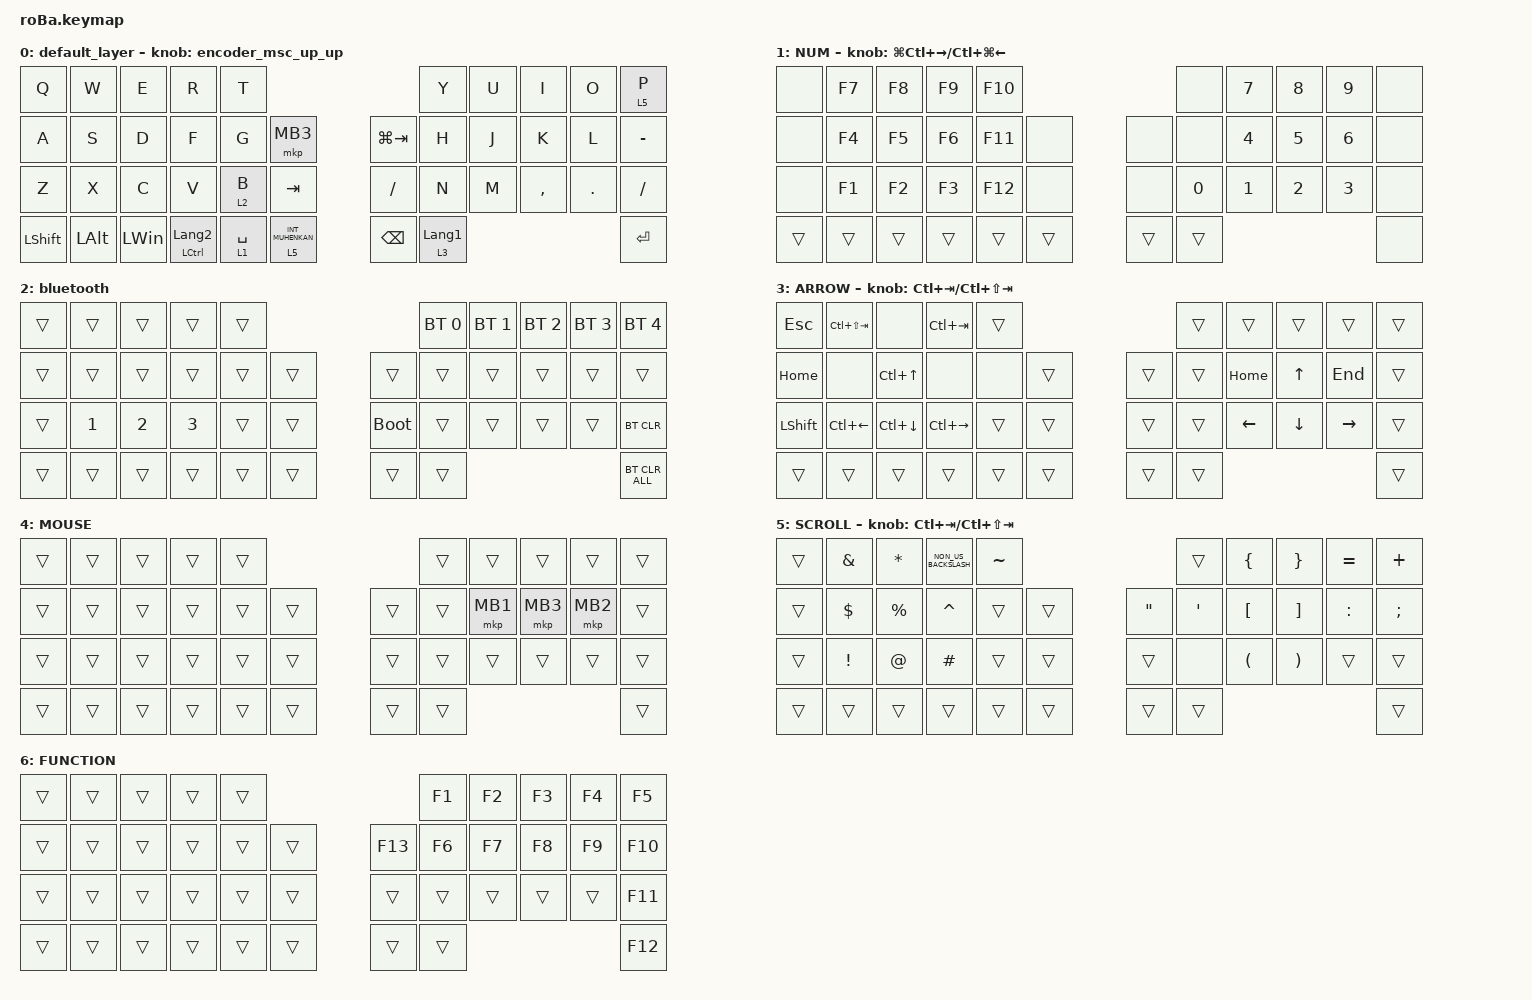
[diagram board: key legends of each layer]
#include <behaviors.dtsi>
#include <dt-bindings/zmk/bt.h>
#include <dt-bindings/zmk/keys.h>
#include <dt-bindings/zmk/pointing.h>

#define ZMK_POINTING_DEFAULT_SCRL_VAL 80

&mt {
    flavor = "balanced";
    quick-tap-ms = <0>;
};

&trackball {
    automouse-layer = <4>;
    scroll-layers = <5>;

    arrows {
        layers = <3>;
        bindings =
            <&kp RIGHT_ARROW>,
            <&kp LEFT_ARROW>,
            <&kp UP_ARROW>,
            <&kp DOWN_ARROW>;

        tick = <10>;
        wait-ms = <5>;
        tap-ms = <5>;
    };
};

/ {
    combos {
        compatible = "zmk,combos";

        tab {
            bindings = <&kp TAB>;
            key-positions = <11 12>;
        };

        shift_tab {
            bindings = <&kp LS(TAB)>;
            key-positions = <12 13>;
        };

        muhennkann {
            bindings = <&to_layer_0 INT_MUHENKAN>;
            key-positions = <11 10>;
        };

        double_quotation {
            bindings = <&kp DOUBLE_QUOTES>;
            key-positions = <20 21>;
        };

        eq {
            bindings = <&kp EQUAL>;
            key-positions = <24 25>;
        };
    };

    macros {
        to_layer_0: to_layer_0 {
            compatible = "zmk,behavior-macro-one-param";
            #binding-cells = <1>;
            bindings = <&to 0 &macro_param_1to1 &kp MACRO_PLACEHOLDER>;
            label = "TO_LAYER_0";
        };
    };

    behaviors {
        lt_to_layer_0: lt_to_layer_0 {
            compatible = "zmk,behavior-hold-tap";
            label = "LAYER_TAP_TO_0";
            bindings = <&mo>, <&to_layer_0>;

            #binding-cells = <2>;
            tapping-term-ms = <200>;
        };

        encoder_msc_up_up: encoder_msc_up_up {
            compatible = "zmk,behavior-sensor-rotate";
            label = "ENCODER_MSC_UP_UP";
            #sensor-binding-cells = <0>;
            bindings = <&msc SCRL_DOWN>, <&msc SCRL_UP>;

            tap-ms = <20>;
        };
    };

    keymap {
        compatible = "zmk,keymap";

        default_layer {
            bindings = <
&kp Q           &kp W         &kp E         &kp R                 &kp T                                                          &kp Y             &kp U  &kp I      &kp O    &lt 5 P
&kp A           &kp S         &kp D         &kp F                 &kp G        &mkp MB3                           &kp LG(TAB)    &kp H             &kp J  &kp K      &kp L    &kp MINUS
&kp Z           &kp X         &kp C         &kp V                 &lt 2 B      &kp TAB                            &kp SLASH      &kp N             &kp M  &kp COMMA  &kp DOT  &kp SLASH
&kp LEFT_SHIFT  &kp LEFT_ALT  &kp LEFT_WIN  &mt LCTRL LANGUAGE_2  &lt 1 SPACE  &lt_to_layer_0 5 INT_MUHENKAN      &kp BACKSPACE  &lt 3 LANGUAGE_1                             &kp ENTER
            >;

            sensor-bindings = <&encoder_msc_up_up>;
        };

        NUM {
            bindings = <
&none   &kp F7  &kp F8  &kp F9  &kp F10                      &none   &kp N7        &kp N8        &kp N9        &none
&none   &kp F4  &kp F5  &kp F6  &kp F11  &none       &none   &none   &kp NUMBER_4  &kp N5        &kp NUMBER_6  &none
&none   &kp F1  &kp F2  &kp F3  &kp F12  &none       &none   &kp N0  &kp NUMBER_1  &kp NUMBER_2  &kp NUMBER_3  &none
&trans  &trans  &trans  &trans  &trans   &trans      &trans  &trans                                            &none
            >;

            sensor-bindings = <&inc_dec_kp LG(LC(RIGHT)) LC(LG(LEFT))>;
        };

        bluetooth {
            bindings = <
&trans  &trans        &trans        &trans        &trans                           &bt BT_SEL 0  &bt BT_SEL 1  &bt BT_SEL 2  &bt BT_SEL 3  &bt BT_SEL 4
&trans  &trans        &trans        &trans        &trans  &trans      &trans       &trans        &trans        &trans        &trans        &trans
&trans  &kp NUMBER_1  &kp NUMBER_2  &kp NUMBER_3  &trans  &trans      &bootloader  &trans        &trans        &trans        &trans        &bt BT_CLR
&trans  &trans        &trans        &trans        &trans  &trans      &trans       &trans                                                  &bt BT_CLR_ALL
            >;
        };

        ARROW {
            bindings = <
&kp ESCAPE      &kp LC(LS(TAB))     &none             &kp LC(TAB)    &trans                      &trans  &trans    &trans          &trans     &trans
&kp HOME        &none               &kp LC(UP_ARROW)  &none          &none   &trans      &trans  &trans  &kp HOME  &kp UP_ARROW    &kp END    &trans
&kp LEFT_SHIFT  &kp LC(LEFT_ARROW)  &kp LC(DOWN)      &kp LC(RIGHT)  &trans  &trans      &trans  &trans  &kp LEFT  &kp DOWN_ARROW  &kp RIGHT  &trans
&trans          &trans              &trans            &trans         &trans  &trans      &trans  &trans                                       &trans
            >;

            sensor-bindings = <&inc_dec_kp LC(TAB) LC(LS(TAB))>;
        };

        MOUSE {
            bindings = <
&trans  &trans  &trans  &trans  &trans                      &trans  &trans    &trans    &trans    &trans
&trans  &trans  &trans  &trans  &trans  &trans      &trans  &trans  &mkp MB1  &mkp MB3  &mkp MB2  &trans
&trans  &trans  &trans  &trans  &trans  &trans      &trans  &trans  &trans    &trans    &trans    &trans
&trans  &trans  &trans  &trans  &trans  &trans      &trans  &trans                                &trans
            >;
        };

        SCROLL {
            bindings = <
&trans  &kp AMPERSAND    &kp ASTERISK  &kp NON_US_BACKSLASH  &kp TILDE                                 &trans          &kp LEFT_BRACE        &kp RIGHT_BRACE        &kp EQUAL  &kp PLUS
&trans  &kp DOLLAR       &kp PERCENT   &kp CARET             &trans     &trans      &kp DOUBLE_QUOTES  &kp APOSTROPHE  &kp LEFT_BRACKET      &kp RIGHT_BRACKET      &kp COLON  &kp SEMICOLON
&trans  &kp EXCLAMATION  &kp AT_SIGN   &kp HASH              &trans     &trans      &trans             &none           &kp LEFT_PARENTHESIS  &kp RIGHT_PARENTHESIS  &trans     &trans
&trans  &trans           &trans        &trans                &trans     &trans      &trans             &trans                                                                  &trans
            >;

            sensor-bindings = <&inc_dec_kp LC(TAB) LC(LS(TAB))>;
        };

        FUNCTION {
            bindings = <
&trans  &trans  &trans  &trans  &trans                       &kp F1  &kp F2  &kp F3  &kp F4  &kp F5
&trans  &trans  &trans  &trans  &trans  &trans      &kp F13  &kp F6  &kp F7  &kp F8  &kp F9  &kp F10
&trans  &trans  &trans  &trans  &trans  &trans      &trans   &trans  &trans  &trans  &trans  &kp F11
&trans  &trans  &trans  &trans  &trans  &trans      &trans   &trans                          &kp F12
            >;
        };
    };
};
